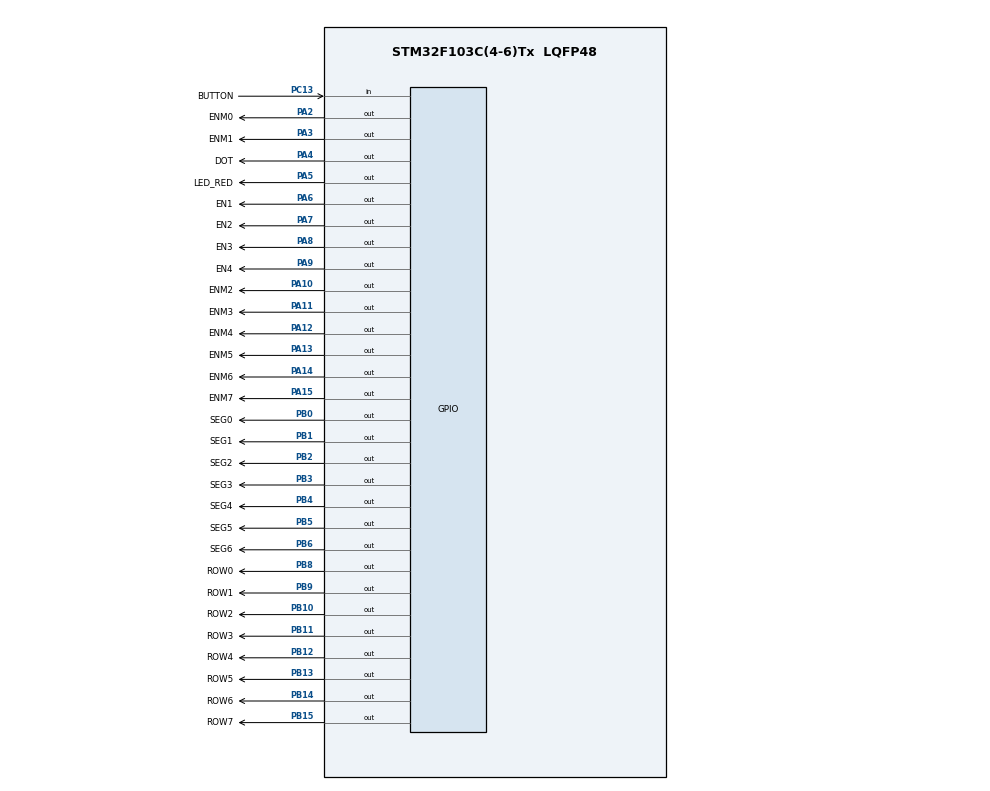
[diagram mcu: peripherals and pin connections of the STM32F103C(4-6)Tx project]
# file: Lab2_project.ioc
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Mcu.Family=STM32F1
Mcu.Name=STM32F103C(4-6)Tx
Mcu.Package=LQFP48
NVIC.PriorityGroup=NVIC_PRIORITYGROUP_4
NVIC.TIM2_IRQn=true\:0\:0\:false\:false\:true\:true\:true
PA10.GPIO_Label=ENM2
PA10.Signal=GPIO_Output
PA11.GPIO_Label=ENM3
PA11.Signal=GPIO_Output
PA12.GPIO_Label=ENM4
PA12.Signal=GPIO_Output
PA13.GPIO_Label=ENM5
PA13.Signal=GPIO_Output
PA14.GPIO_Label=ENM6
PA14.Signal=GPIO_Output
PA15.GPIO_Label=ENM7
PA15.Signal=GPIO_Output
PA2.GPIO_Label=ENM0
PA2.Signal=GPIO_Output
PA3.GPIO_Label=ENM1
PA3.Signal=GPIO_Output
PA4.GPIO_Label=DOT
PA4.Signal=GPIO_Output
PA5.GPIO_Label=LED_RED
PA5.Signal=GPIO_Output
PA6.GPIO_Label=EN1
PA6.Signal=GPIO_Output
PA7.GPIO_Label=EN2
PA7.Signal=GPIO_Output
PA8.GPIO_Label=EN3
PA8.Signal=GPIO_Output
PA9.GPIO_Label=EN4
PA9.Signal=GPIO_Output
PB0.GPIO_Label=SEG0
PB0.Signal=GPIO_Output
PB1.GPIO_Label=SEG1
PB1.Signal=GPIO_Output
PB10.GPIO_Label=ROW2
PB10.Signal=GPIO_Output
PB11.GPIO_Label=ROW3
PB11.Signal=GPIO_Output
PB12.GPIO_Label=ROW4
PB12.Signal=GPIO_Output
PB13.GPIO_Label=ROW5
PB13.GPIO_PuPd=GPIO_PULLUP
PB13.Signal=GPIO_Output
PB14.GPIO_Label=ROW6
PB14.Signal=GPIO_Output
PB15.GPIO_Label=ROW7
PB15.Signal=GPIO_Output
PB2.GPIO_Label=SEG2
PB2.Signal=GPIO_Output
PB3.GPIO_Label=SEG3
PB3.Signal=GPIO_Output
PB4.GPIO_Label=SEG4
PB4.Signal=GPIO_Output
PB5.GPIO_Label=SEG5
PB5.Signal=GPIO_Output
PB6.GPIO_Label=SEG6
PB6.Signal=GPIO_Output
PB8.GPIO_Label=ROW0
PB8.Signal=GPIO_Output
PB9.GPIO_Label=ROW1
PB9.Signal=GPIO_Output
PC13-TAMPER-RTC.GPIO_Label=BUTTON
PC13-TAMPER-RTC.Signal=GPIO_Input
ProjectManager.HeapSize=0x200
ProjectManager.StackSize=0x400
ProjectManager.TargetToolchain=STM32CubeIDE
RCC.APB1Freq_Value=8000000
RCC.APB2Freq_Value=8000000
TIM2.Period=9
TIM2.Prescaler=7999
VP_SYS_VS_ND.Mode=No_Debug
VP_TIM2_VS_ClockSourceINT.Mode=Internal
board=custom

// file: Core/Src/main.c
/* USER CODE BEGIN Header */
/**
  ******************************************************************************
  * @file           : main.c
  * @brief          : Main program body
  ******************************************************************************
  * @attention
  *
  * <h2><center>&copy; Copyright (c) 2024 STMicroelectronics.
  * All rights reserved.</center></h2>
  *
  * This software component is licensed by ST under BSD 3-Clause license,
  * the "License"; You may not use this file except in compliance with the
  * License. You may obtain a copy of the License at:
  *                        opensource.org/licenses/BSD-3-Clause
  *
  ******************************************************************************
  */
/* USER CODE END Header */
#include "main.h"

/* USER CODE BEGIN Includes */
#include "software_timer.h"
#include "ex1.h"
#include "ex2.h"
#include "ex3.h"
#include "ex4.h"
#include "ex7.h"
/* USER CODE END Includes */

TIM_HandleTypeDef htim2;

void SystemClock_Config(void);
static void MX_GPIO_Init(void);
static void MX_TIM2_Init(void);

/* USER CODE BEGIN 0 */
const int MAX_LED = 4;
int led_buffer [4] = {1 , 2 , 3 , 4};
 void update7SEG ( int index ) {
 switch ( index ) {
 case 0:
	 SET_EN_7_SEGMENT(GPIOA, EN1_Pin, EN2_Pin, EN3_Pin, EN4_Pin, 1);
	 DISPLAY_LED_7_SEGMENT(GPIOB, SEG0_Pin, SEG1_Pin, SEG2_Pin, SEG3_Pin, SEG4_Pin, SEG5_Pin, SEG6_Pin, led_buffer[0]);
 // Display the first 7 SEG with led_buffer [0]
 break ;
 case 1:
 // Display the second 7 SEG with led_buffer [1]
	 SET_EN_7_SEGMENT(GPIOA, EN1_Pin, EN2_Pin, EN3_Pin, EN4_Pin, 2);
	 DISPLAY_LED_7_SEGMENT(GPIOB, SEG0_Pin, SEG1_Pin, SEG2_Pin, SEG3_Pin, SEG4_Pin, SEG5_Pin, SEG6_Pin, led_buffer[1]);
 break ;
 case 2:
 // Display the third 7 SEG with led_buffer [2]
	 SET_EN_7_SEGMENT(GPIOA, EN1_Pin, EN2_Pin, EN3_Pin, EN4_Pin, 3);
	 DISPLAY_LED_7_SEGMENT(GPIOB, SEG0_Pin, SEG1_Pin, SEG2_Pin, SEG3_Pin, SEG4_Pin, SEG5_Pin, SEG6_Pin, led_buffer[2]);
 break ;
 case 3:
	 SET_EN_7_SEGMENT(GPIOA, EN1_Pin, EN2_Pin, EN3_Pin, EN4_Pin, 4);
	 DISPLAY_LED_7_SEGMENT(GPIOB, SEG0_Pin, SEG1_Pin, SEG2_Pin, SEG3_Pin, SEG4_Pin, SEG5_Pin, SEG6_Pin, led_buffer[3]);
 // Display the forth 7 SEG with led_buffer [3]
 break ;
 default :
 break ;
 }
 }
 void updateClockBuffer(){
	led_buffer[0] = hour / 10;
	led_buffer[1] = hour % 10;
	led_buffer[2] = minute / 10;
	led_buffer[3] = minute % 10;
 }
/* USER CODE END 0 */

int main(void)
{

  /* MCU Configuration--------------------------------------------------------*/

  /* Reset of all peripherals, Initializes the Flash interface and the Systick. */
  HAL_Init();

  /* Configure the system clock */
  SystemClock_Config();

  /* Initialize all configured peripherals */
  MX_GPIO_Init();
  MX_TIM2_Init();
  /* USER CODE BEGIN 2 */
  HAL_TIM_Base_Start_IT(&htim2);
  /* USER CODE END 2 */

  /* Infinite loop */
  /* USER CODE BEGIN WHILE */
  ex7_init();
  while (1)
  {
  ex7_run();
	      /* USER CODE END WHILE */

	      /* USER CODE BEGIN 3 */
    /* USER CODE END WHILE */

    /* USER CODE BEGIN 3 */
  }
  /* USER CODE END 3 */
}

void SystemClock_Config(void)
{
  RCC_OscInitTypeDef RCC_OscInitStruct = {0};
  RCC_ClkInitTypeDef RCC_ClkInitStruct = {0};

  /** Initializes the RCC Oscillators according to the specified parameters
  * in the RCC_OscInitTypeDef structure.
  */
  RCC_OscInitStruct.OscillatorType = RCC_OSCILLATORTYPE_HSI;
  RCC_OscInitStruct.HSIState = RCC_HSI_ON;
  RCC_OscInitStruct.HSICalibrationValue = RCC_HSICALIBRATION_DEFAULT;
  RCC_OscInitStruct.PLL.PLLState = RCC_PLL_NONE;
  if (HAL_RCC_OscConfig(&RCC_OscInitStruct) != HAL_OK)
  {
    Error_Handler();
  }
  /** Initializes the CPU, AHB and APB buses clocks
  */
  RCC_ClkInitStruct.ClockType = RCC_CLOCKTYPE_HCLK|RCC_CLOCKTYPE_SYSCLK
                              |RCC_CLOCKTYPE_PCLK1|RCC_CLOCKTYPE_PCLK2;
  RCC_ClkInitStruct.SYSCLKSource = RCC_SYSCLKSOURCE_HSI;
  RCC_ClkInitStruct.AHBCLKDivider = RCC_SYSCLK_DIV1;
  RCC_ClkInitStruct.APB1CLKDivider = RCC_HCLK_DIV1;
  RCC_ClkInitStruct.APB2CLKDivider = RCC_HCLK_DIV1;

  if (HAL_RCC_ClockConfig(&RCC_ClkInitStruct, FLASH_LATENCY_0) != HAL_OK)
  {
    Error_Handler();
  }
}

static void MX_TIM2_Init(void)
{

  TIM_ClockConfigTypeDef sClockSourceConfig = {0};
  TIM_MasterConfigTypeDef sMasterConfig = {0};

  htim2.Instance = TIM2;
  htim2.Init.Prescaler = 7999;
  htim2.Init.CounterMode = TIM_COUNTERMODE_UP;
  htim2.Init.Period = 9;
  htim2.Init.ClockDivision = TIM_CLOCKDIVISION_DIV1;
  htim2.Init.AutoReloadPreload = TIM_AUTORELOAD_PRELOAD_DISABLE;
  if (HAL_TIM_Base_Init(&htim2) != HAL_OK)
  {
    Error_Handler();
  }
  sClockSourceConfig.ClockSource = TIM_CLOCKSOURCE_INTERNAL;
  if (HAL_TIM_ConfigClockSource(&htim2, &sClockSourceConfig) != HAL_OK)
  {
    Error_Handler();
  }
  sMasterConfig.MasterOutputTrigger = TIM_TRGO_RESET;
  sMasterConfig.MasterSlaveMode = TIM_MASTERSLAVEMODE_DISABLE;
  if (HAL_TIMEx_MasterConfigSynchronization(&htim2, &sMasterConfig) != HAL_OK)
  {
    Error_Handler();
  }

}

static void MX_GPIO_Init(void)
{
  GPIO_InitTypeDef GPIO_InitStruct = {0};

  /* GPIO Ports Clock Enable */
  __HAL_RCC_GPIOA_CLK_ENABLE();
  __HAL_RCC_GPIOB_CLK_ENABLE();

  /*Configure GPIO pin Output Level */
  HAL_GPIO_WritePin(GPIOA, DOT_Pin|LED_RED_Pin|EN1_Pin|EN2_Pin
                          |EN3_Pin|EN4_Pin, GPIO_PIN_RESET);

  /*Configure GPIO pin Output Level */
  HAL_GPIO_WritePin(GPIOB, SEG0_Pin|SEG1_Pin|SEG2_Pin|SEG3_Pin
                          |SEG4_Pin|SEG5_Pin|SEG6_Pin, GPIO_PIN_RESET);

  /*Configure GPIO pins : DOT_Pin LED_RED_Pin EN1_Pin EN2_Pin
                           EN3_Pin EN4_Pin */
  GPIO_InitStruct.Pin = DOT_Pin|LED_RED_Pin|EN1_Pin|EN2_Pin
                          |EN3_Pin|EN4_Pin;
  GPIO_InitStruct.Mode = GPIO_MODE_OUTPUT_PP;
  GPIO_InitStruct.Pull = GPIO_NOPULL;
  GPIO_InitStruct.Speed = GPIO_SPEED_FREQ_LOW;
  HAL_GPIO_Init(GPIOA, &GPIO_InitStruct);

  /*Configure GPIO pins : SEG0_Pin SEG1_Pin SEG2_Pin SEG3_Pin
                           SEG4_Pin SEG5_Pin SEG6_Pin */
  GPIO_InitStruct.Pin = SEG0_Pin|SEG1_Pin|SEG2_Pin|SEG3_Pin
                          |SEG4_Pin|SEG5_Pin|SEG6_Pin;
  GPIO_InitStruct.Mode = GPIO_MODE_OUTPUT_PP;
  GPIO_InitStruct.Pull = GPIO_NOPULL;
  GPIO_InitStruct.Speed = GPIO_SPEED_FREQ_LOW;
  HAL_GPIO_Init(GPIOB, &GPIO_InitStruct);

}

/* USER CODE BEGIN 4 */
void HAL_TIM_PeriodElapsedCallback(TIM_HandleTypeDef *htim){
	timerRun();
}
/* USER CODE END 4 */

void Error_Handler(void)
{
  __disable_irq();
  while (1)
  {
  }
}

/************************ (C) COPYRIGHT STMicroelectronics *****END OF FILE****/
